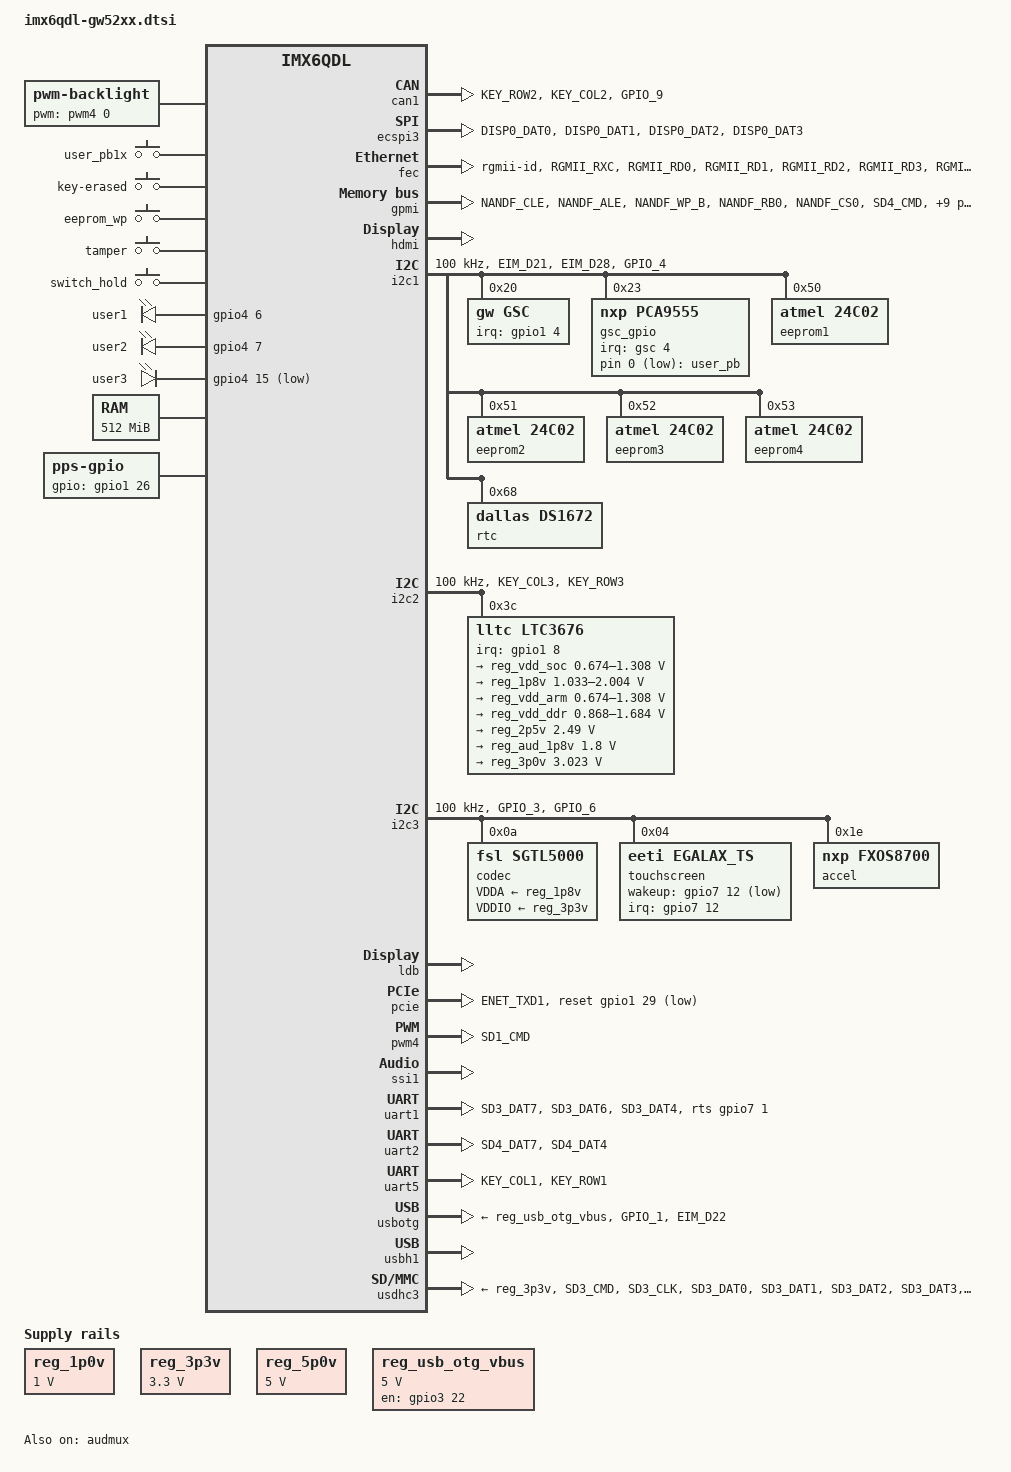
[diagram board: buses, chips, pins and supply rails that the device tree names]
// SPDX-License-Identifier: GPL-2.0-or-later
/*
 * Copyright 2013 Gateworks Corporation
 */

#include <dt-bindings/gpio/gpio.h>
#include <dt-bindings/input/linux-event-codes.h>
#include <dt-bindings/interrupt-controller/irq.h>

/ {
	/* these are used by bootloader for disabling nodes */
	aliases {
		led0 = &led0;
		led1 = &led1;
		led2 = &led2;
		nand = &gpmi;
		ssi0 = &ssi1;
		usb0 = &usbh1;
		usb1 = &usbotg;
	};

	chosen {
		bootargs = "console=ttymxc1,115200";
	};

	backlight {
		compatible = "pwm-backlight";
		pwms = <&pwm4 0 5000000>;
		brightness-levels = <0 4 8 16 32 64 128 255>;
		default-brightness-level = <7>;
	};

	gpio-keys {
		compatible = "gpio-keys";
		#address-cells = <1>;
		#size-cells = <0>;

		user-pb {
			label = "user_pb";
			gpios = <&gsc_gpio 0 GPIO_ACTIVE_LOW>;
			linux,code = <BTN_0>;
		};

		user-pb1x {
			label = "user_pb1x";
			linux,code = <BTN_1>;
			interrupt-parent = <&gsc>;
			interrupts = <0>;
		};

		key-erased {
			label = "key-erased";
			linux,code = <BTN_2>;
			interrupt-parent = <&gsc>;
			interrupts = <1>;
		};

		eeprom-wp {
			label = "eeprom_wp";
			linux,code = <BTN_3>;
			interrupt-parent = <&gsc>;
			interrupts = <2>;
		};

		tamper {
			label = "tamper";
			linux,code = <BTN_4>;
			interrupt-parent = <&gsc>;
			interrupts = <5>;
		};

		switch-hold {
			label = "switch_hold";
			linux,code = <BTN_5>;
			interrupt-parent = <&gsc>;
			interrupts = <7>;
		};
	};

	leds {
		compatible = "gpio-leds";
		pinctrl-names = "default";
		pinctrl-0 = <&pinctrl_gpio_leds>;

		led0: user1 {
			label = "user1";
			gpios = <&gpio4 6 GPIO_ACTIVE_HIGH>; /* MX6_PANLEDG */
			default-state = "on";
			linux,default-trigger = "heartbeat";
		};

		led1: user2 {
			label = "user2";
			gpios = <&gpio4 7 GPIO_ACTIVE_HIGH>; /* MX6_PANLEDR */
			default-state = "off";
		};

		led2: user3 {
			label = "user3";
			gpios = <&gpio4 15 GPIO_ACTIVE_LOW>; /* MX6_LOCLED# */
			default-state = "off";
		};
	};

	memory@10000000 {
		device_type = "memory";
		reg = <0x10000000 0x20000000>;
	};

	pps {
		compatible = "pps-gpio";
		pinctrl-names = "default";
		pinctrl-0 = <&pinctrl_pps>;
		gpios = <&gpio1 26 GPIO_ACTIVE_HIGH>;
		status = "okay";
	};

	reg_1p0v: regulator-1p0v {
		compatible = "regulator-fixed";
		regulator-name = "1P0V";
		regulator-min-microvolt = <1000000>;
		regulator-max-microvolt = <1000000>;
		regulator-always-on;
	};

	reg_3p3v: regulator-3p3v {
		compatible = "regulator-fixed";
		regulator-name = "3P3V";
		regulator-min-microvolt = <3300000>;
		regulator-max-microvolt = <3300000>;
		regulator-always-on;
	};

	reg_5p0v: regulator-5p0v {
		compatible = "regulator-fixed";
		regulator-name = "5P0V";
		regulator-min-microvolt = <5000000>;
		regulator-max-microvolt = <5000000>;
		regulator-always-on;
	};

	reg_usb_otg_vbus: regulator-usb-otg-vbus {
		compatible = "regulator-fixed";
		regulator-name = "usb_otg_vbus";
		regulator-min-microvolt = <5000000>;
		regulator-max-microvolt = <5000000>;
		gpio = <&gpio3 22 GPIO_ACTIVE_HIGH>;
		enable-active-high;
	};

	sound {
		compatible = "fsl,imx6q-ventana-sgtl5000",
			     "fsl,imx-audio-sgtl5000";
		model = "sgtl5000-audio";
		ssi-controller = <&ssi1>;
		audio-codec = <&codec>;
		audio-routing =
			"MIC_IN", "Mic Jack",
			"Mic Jack", "Mic Bias",
			"Headphone Jack", "HP_OUT";
		mux-int-port = <1>;
		mux-ext-port = <4>;
	};
};

&audmux {
	pinctrl-names = "default";
	pinctrl-0 = <&pinctrl_audmux>;
	status = "okay";
};

&can1 {
	pinctrl-names = "default";
	pinctrl-0 = <&pinctrl_flexcan1>;
	status = "okay";
};

&clks {
	assigned-clocks = <&clks IMX6QDL_CLK_LDB_DI0_SEL>,
			  <&clks IMX6QDL_CLK_LDB_DI1_SEL>;
	assigned-clock-parents = <&clks IMX6QDL_CLK_PLL3_USB_OTG>,
				 <&clks IMX6QDL_CLK_PLL3_USB_OTG>;
};

&ecspi3 {
	cs-gpios = <&gpio4 24 GPIO_ACTIVE_LOW>;
	pinctrl-names = "default";
	pinctrl-0 = <&pinctrl_ecspi3>;
	status = "okay";
};

&fec {
	pinctrl-names = "default";
	pinctrl-0 = <&pinctrl_enet>;
	phy-mode = "rgmii-id";
	phy-reset-gpios = <&gpio1 30 GPIO_ACTIVE_LOW>;
	status = "okay";
};

&gpmi {
	pinctrl-names = "default";
	pinctrl-0 = <&pinctrl_gpmi_nand>;
	status = "okay";
};

&hdmi {
	ddc-i2c-bus = <&i2c3>;
	status = "okay";
};

&i2c1 {
	clock-frequency = <100000>;
	pinctrl-names = "default";
	pinctrl-0 = <&pinctrl_i2c1>;
	status = "okay";

	gsc: gsc@20 {
		compatible = "gw,gsc";
		reg = <0x20>;
		interrupt-parent = <&gpio1>;
		interrupts = <4 IRQ_TYPE_LEVEL_LOW>;
		interrupt-controller;
		#interrupt-cells = <1>;
		#size-cells = <0>;

		adc {
			compatible = "gw,gsc-adc";
			#address-cells = <1>;
			#size-cells = <0>;

			channel@0 {
				gw,mode = <0>;
				reg = <0x00>;
				label = "temp";
			};

			channel@2 {
				gw,mode = <1>;
				reg = <0x02>;
				label = "vdd_vin";
			};

			channel@5 {
				gw,mode = <1>;
				reg = <0x05>;
				label = "vdd_3p3";
			};

			channel@8 {
				gw,mode = <1>;
				reg = <0x08>;
				label = "vdd_bat";
			};

			channel@b {
				gw,mode = <1>;
				reg = <0x0b>;
				label = "vdd_5p0";
			};

			channel@e {
				gw,mode = <1>;
				reg = <0xe>;
				label = "vdd_arm";
			};

			channel@11 {
				gw,mode = <1>;
				reg = <0x11>;
				label = "vdd_soc";
			};

			channel@14 {
				gw,mode = <1>;
				reg = <0x14>;
				label = "vdd_3p0";
			};

			channel@17 {
				gw,mode = <1>;
				reg = <0x17>;
				label = "vdd_1p5";
			};

			channel@1d {
				gw,mode = <1>;
				reg = <0x1d>;
				label = "vdd_1p8";
			};

			channel@20 {
				gw,mode = <1>;
				reg = <0x20>;
				label = "vdd_1p0";
			};

			channel@23 {
				gw,mode = <1>;
				reg = <0x23>;
				label = "vdd_2p5";
			};

			channel@29 {
				gw,mode = <1>;
				reg = <0x29>;
				label = "vdd_an1";
			};
		};
	};

	gsc_gpio: gpio@23 {
		compatible = "nxp,pca9555";
		reg = <0x23>;
		gpio-controller;
		#gpio-cells = <2>;
		interrupt-parent = <&gsc>;
		interrupts = <4>;
	};

	eeprom1: eeprom@50 {
		compatible = "atmel,24c02";
		reg = <0x50>;
		pagesize = <16>;
	};

	eeprom2: eeprom@51 {
		compatible = "atmel,24c02";
		reg = <0x51>;
		pagesize = <16>;
	};

	eeprom3: eeprom@52 {
		compatible = "atmel,24c02";
		reg = <0x52>;
		pagesize = <16>;
	};

	eeprom4: eeprom@53 {
		compatible = "atmel,24c02";
		reg = <0x53>;
		pagesize = <16>;
	};

	rtc: ds1672@68 {
		compatible = "dallas,ds1672";
		reg = <0x68>;
	};
};

&i2c2 {
	clock-frequency = <100000>;
	pinctrl-names = "default";
	pinctrl-0 = <&pinctrl_i2c2>;
	status = "okay";

	ltc3676: pmic@3c {
		compatible = "lltc,ltc3676";
		reg = <0x3c>;
		pinctrl-names = "default";
		pinctrl-0 = <&pinctrl_pmic>;
		interrupt-parent = <&gpio1>;
		interrupts = <8 IRQ_TYPE_EDGE_FALLING>;

		regulators {
			/* VDD_SOC (1+R1/R2 = 1.635) */
			reg_vdd_soc: sw1 {
				regulator-name = "vddsoc";
				regulator-min-microvolt = <674400>;
				regulator-max-microvolt = <1308000>;
				lltc,fb-voltage-divider = <127000 200000>;
				regulator-ramp-delay = <7000>;
				regulator-boot-on;
				regulator-always-on;
			};

			/* VDD_1P8 (1+R1/R2 = 2.505): GPS/VideoIn/ENET-PHY */
			reg_1p8v: sw2 {
				regulator-name = "vdd1p8";
				regulator-min-microvolt = <1033310>;
				regulator-max-microvolt = <2004000>;
				lltc,fb-voltage-divider = <301000 200000>;
				regulator-ramp-delay = <7000>;
				regulator-boot-on;
				regulator-always-on;
			};

			/* VDD_ARM (1+R1/R2 = 1.635) */
			reg_vdd_arm: sw3 {
				regulator-name = "vddarm";
				regulator-min-microvolt = <674400>;
				regulator-max-microvolt = <1308000>;
				lltc,fb-voltage-divider = <127000 200000>;
				regulator-ramp-delay = <7000>;
				regulator-boot-on;
				regulator-always-on;
			};

			/* VDD_DDR (1+R1/R2 = 2.105) */
			reg_vdd_ddr: sw4 {
				regulator-name = "vddddr";
				regulator-min-microvolt = <868310>;
				regulator-max-microvolt = <1684000>;
				lltc,fb-voltage-divider = <221000 200000>;
				regulator-ramp-delay = <7000>;
				regulator-boot-on;
				regulator-always-on;
			};

			/* VDD_2P5 (1+R1/R2 = 3.435): PCIe/ENET-PHY */
			reg_2p5v: ldo2 {
				regulator-name = "vdd2p5";
				regulator-min-microvolt = <2490375>;
				regulator-max-microvolt = <2490375>;
				lltc,fb-voltage-divider = <487000 200000>;
				regulator-boot-on;
				regulator-always-on;
			};

			/* VDD_AUD_1P8: Audio codec */
			reg_aud_1p8v: ldo3 {
				regulator-name = "vdd1p8a";
				regulator-min-microvolt = <1800000>;
				regulator-max-microvolt = <1800000>;
				regulator-boot-on;
			};

			/* VDD_HIGH (1+R1/R2 = 4.17) */
			reg_3p0v: ldo4 {
				regulator-name = "vdd3p0";
				regulator-min-microvolt = <3023250>;
				regulator-max-microvolt = <3023250>;
				lltc,fb-voltage-divider = <634000 200000>;
				regulator-boot-on;
				regulator-always-on;
			};
		};
	};
};

&i2c3 {
	clock-frequency = <100000>;
	pinctrl-names = "default";
	pinctrl-0 = <&pinctrl_i2c3>;
	status = "okay";

	codec: sgtl5000@a {
		compatible = "fsl,sgtl5000";
		reg = <0x0a>;
		clocks = <&clks IMX6QDL_CLK_CKO>;
		VDDA-supply = <&reg_1p8v>;
		VDDIO-supply = <&reg_3p3v>;
	};

	touchscreen: egalax_ts@4 {
		compatible = "eeti,egalax_ts";
		reg = <0x04>;
		interrupt-parent = <&gpio7>;
		interrupts = <12 2>;
		wakeup-gpios = <&gpio7 12 GPIO_ACTIVE_LOW>;
	};

	accel@1e {
		compatible = "nxp,fxos8700";
		reg = <0x1e>;
	};
};

&ldb {
	status = "okay";

	lvds-channel@0 {
		fsl,data-mapping = "spwg";
		fsl,data-width = <18>;
		status = "okay";

		display-timings {
			native-mode = <&timing0>;
			timing0: hsd100pxn1 {
				clock-frequency = <65000000>;
				hactive = <1024>;
				vactive = <768>;
				hback-porch = <220>;
				hfront-porch = <40>;
				vback-porch = <21>;
				vfront-porch = <7>;
				hsync-len = <60>;
				vsync-len = <10>;
			};
		};
	};
};

&pcie {
	pinctrl-names = "default";
	pinctrl-0 = <&pinctrl_pcie>;
	reset-gpio = <&gpio1 29 GPIO_ACTIVE_LOW>;
	status = "okay";
};

&pwm2 {
	pinctrl-names = "default";
	pinctrl-0 = <&pinctrl_pwm2>; /* MX6_DIO1 */
	status = "disabled";
};

&pwm3 {
	pinctrl-names = "default";
	pinctrl-0 = <&pinctrl_pwm3>; /* MX6_DIO2 */
	status = "disabled";
};

&pwm4 {
	#pwm-cells = <2>;
	pinctrl-names = "default";
	pinctrl-0 = <&pinctrl_pwm4>;
	status = "okay";
};

&ssi1 {
	status = "okay";
};

&uart1 {
	pinctrl-names = "default";
	pinctrl-0 = <&pinctrl_uart1>;
	rts-gpios = <&gpio7 1 GPIO_ACTIVE_HIGH>;
	status = "okay";
};

&uart2 {
	pinctrl-names = "default";
	pinctrl-0 = <&pinctrl_uart2>;
	status = "okay";
};

&uart5 {
	pinctrl-names = "default";
	pinctrl-0 = <&pinctrl_uart5>;
	status = "okay";
};

&usbotg {
	vbus-supply = <&reg_usb_otg_vbus>;
	pinctrl-names = "default";
	pinctrl-0 = <&pinctrl_usbotg>;
	disable-over-current;
	status = "okay";
};

&usbh1 {
	status = "okay";
};

&usdhc3 {
	pinctrl-names = "default", "state_100mhz", "state_200mhz";
	pinctrl-0 = <&pinctrl_usdhc3>;
	pinctrl-1 = <&pinctrl_usdhc3_100mhz>;
	pinctrl-2 = <&pinctrl_usdhc3_200mhz>;
	cd-gpios = <&gpio7 0 GPIO_ACTIVE_LOW>;
	vmmc-supply = <&reg_3p3v>;
	no-1-8-v; /* firmware will remove if board revision supports */
	status = "okay";
};

&wdog1 {
	pinctrl-names = "default";
	pinctrl-0 = <&pinctrl_wdog>;
	fsl,ext-reset-output;
};

&iomuxc {
	pinctrl_audmux: audmuxgrp {
		fsl,pins = <
			MX6QDL_PAD_SD2_DAT0__AUD4_RXD		0x130b0
			MX6QDL_PAD_SD2_DAT3__AUD4_TXC		0x130b0
			MX6QDL_PAD_SD2_DAT2__AUD4_TXD		0x110b0
			MX6QDL_PAD_SD2_DAT1__AUD4_TXFS		0x130b0
			MX6QDL_PAD_GPIO_0__CCM_CLKO1	0x130b0 /* AUD4_MCK */
		>;
	};

	pinctrl_ecspi3: escpi3grp {
		fsl,pins = <
			MX6QDL_PAD_DISP0_DAT0__ECSPI3_SCLK	0x100b1
			MX6QDL_PAD_DISP0_DAT1__ECSPI3_MOSI	0x100b1
			MX6QDL_PAD_DISP0_DAT2__ECSPI3_MISO	0x100b1
			MX6QDL_PAD_DISP0_DAT3__GPIO4_IO24	0x100b1
		>;
	};

	pinctrl_enet: enetgrp {
		fsl,pins = <
			MX6QDL_PAD_RGMII_RXC__RGMII_RXC		0x1b030
			MX6QDL_PAD_RGMII_RD0__RGMII_RD0		0x1b030
			MX6QDL_PAD_RGMII_RD1__RGMII_RD1		0x1b030
			MX6QDL_PAD_RGMII_RD2__RGMII_RD2		0x1b030
			MX6QDL_PAD_RGMII_RD3__RGMII_RD3		0x1b030
			MX6QDL_PAD_RGMII_RX_CTL__RGMII_RX_CTL	0x1b030
			MX6QDL_PAD_RGMII_TXC__RGMII_TXC		0x1b030
			MX6QDL_PAD_RGMII_TD0__RGMII_TD0		0x1b030
			MX6QDL_PAD_RGMII_TD1__RGMII_TD1		0x1b030
			MX6QDL_PAD_RGMII_TD2__RGMII_TD2		0x1b030
			MX6QDL_PAD_RGMII_TD3__RGMII_TD3		0x1b030
			MX6QDL_PAD_RGMII_TX_CTL__RGMII_TX_CTL	0x1b030
			MX6QDL_PAD_ENET_REF_CLK__ENET_TX_CLK	0x1b0b0
			MX6QDL_PAD_ENET_MDIO__ENET_MDIO		0x1b0b0
			MX6QDL_PAD_ENET_MDC__ENET_MDC		0x1b0b0
			MX6QDL_PAD_GPIO_16__ENET_REF_CLK	0x4001b0a8
			MX6QDL_PAD_ENET_TXD0__GPIO1_IO30	0x1b0b0 /* PHY Reset */
		>;
	};

	pinctrl_flexcan1: flexcan1grp {
		fsl,pins = <
			MX6QDL_PAD_KEY_ROW2__FLEXCAN1_RX	0x1b0b1
			MX6QDL_PAD_KEY_COL2__FLEXCAN1_TX	0x1b0b1
			MX6QDL_PAD_GPIO_9__GPIO1_IO09		0x4001b0b0 /* CAN_STBY */
		>;
	};

	pinctrl_gpio_leds: gpioledsgrp {
		fsl,pins = <
			MX6QDL_PAD_KEY_COL0__GPIO4_IO06  0x1b0b0
			MX6QDL_PAD_KEY_ROW0__GPIO4_IO07  0x1b0b0
			MX6QDL_PAD_KEY_ROW4__GPIO4_IO15  0x1b0b0
		>;
	};

	pinctrl_gpmi_nand: gpminandgrp {
		fsl,pins = <
			MX6QDL_PAD_NANDF_CLE__NAND_CLE		0xb0b1
			MX6QDL_PAD_NANDF_ALE__NAND_ALE		0xb0b1
			MX6QDL_PAD_NANDF_WP_B__NAND_WP_B	0xb0b1
			MX6QDL_PAD_NANDF_RB0__NAND_READY_B	0xb000
			MX6QDL_PAD_NANDF_CS0__NAND_CE0_B	0xb0b1
			MX6QDL_PAD_SD4_CMD__NAND_RE_B		0xb0b1
			MX6QDL_PAD_SD4_CLK__NAND_WE_B		0xb0b1
			MX6QDL_PAD_NANDF_D0__NAND_DATA00	0xb0b1
			MX6QDL_PAD_NANDF_D1__NAND_DATA01	0xb0b1
			MX6QDL_PAD_NANDF_D2__NAND_DATA02	0xb0b1
			MX6QDL_PAD_NANDF_D3__NAND_DATA03	0xb0b1
			MX6QDL_PAD_NANDF_D4__NAND_DATA04	0xb0b1
			MX6QDL_PAD_NANDF_D5__NAND_DATA05	0xb0b1
			MX6QDL_PAD_NANDF_D6__NAND_DATA06	0xb0b1
			MX6QDL_PAD_NANDF_D7__NAND_DATA07	0xb0b1
		>;
	};

	pinctrl_i2c1: i2c1grp {
		fsl,pins = <
			MX6QDL_PAD_EIM_D21__I2C1_SCL		0x4001b8b1
			MX6QDL_PAD_EIM_D28__I2C1_SDA		0x4001b8b1
			MX6QDL_PAD_GPIO_4__GPIO1_IO04		0xb0b1
		>;
	};

	pinctrl_i2c2: i2c2grp {
		fsl,pins = <
			MX6QDL_PAD_KEY_COL3__I2C2_SCL		0x4001b8b1
			MX6QDL_PAD_KEY_ROW3__I2C2_SDA		0x4001b8b1
		>;
	};

	pinctrl_i2c3: i2c3grp {
		fsl,pins = <
			MX6QDL_PAD_GPIO_3__I2C3_SCL		0x4001b8b1
			MX6QDL_PAD_GPIO_6__I2C3_SDA		0x4001b8b1
		>;
	};

	pinctrl_pcie: pciegrp {
		fsl,pins = <
			MX6QDL_PAD_ENET_TXD1__GPIO1_IO29	0x1b0b0 /* PCIE_RST# */
		>;
	};

	pinctrl_pmic: pmicgrp {
		fsl,pins = <
			MX6QDL_PAD_GPIO_8__GPIO1_IO08		0x0001b0b0 /* PMIC_IRQ# */
		>;
	};

	pinctrl_pps: ppsgrp {
		fsl,pins = <
			MX6QDL_PAD_ENET_RXD1__GPIO1_IO26	0x1b0b1
		>;
	};

	pinctrl_pwm2: pwm2grp {
		fsl,pins = <
			MX6QDL_PAD_SD1_DAT2__PWM2_OUT		0x1b0b1
		>;
	};

	pinctrl_pwm3: pwm3grp {
		fsl,pins = <
			MX6QDL_PAD_SD1_DAT1__PWM3_OUT		0x1b0b1
		>;
	};

	pinctrl_pwm4: pwm4grp {
		fsl,pins = <
			MX6QDL_PAD_SD1_CMD__PWM4_OUT		0x1b0b1
		>;
	};

	pinctrl_uart1: uart1grp {
		fsl,pins = <
			MX6QDL_PAD_SD3_DAT7__UART1_TX_DATA	0x1b0b1
			MX6QDL_PAD_SD3_DAT6__UART1_RX_DATA	0x1b0b1
			MX6QDL_PAD_SD3_DAT4__GPIO7_IO01		0x4001b0b1 /* TEN */
		>;
	};

	pinctrl_uart2: uart2grp {
		fsl,pins = <
			MX6QDL_PAD_SD4_DAT7__UART2_TX_DATA	0x1b0b1
			MX6QDL_PAD_SD4_DAT4__UART2_RX_DATA	0x1b0b1
		>;
	};

	pinctrl_uart5: uart5grp {
		fsl,pins = <
			MX6QDL_PAD_KEY_COL1__UART5_TX_DATA	0x1b0b1
			MX6QDL_PAD_KEY_ROW1__UART5_RX_DATA	0x1b0b1
		>;
	};

	pinctrl_usbotg: usbotggrp {
		fsl,pins = <
			MX6QDL_PAD_GPIO_1__USB_OTG_ID		0x17059
			MX6QDL_PAD_EIM_D22__GPIO3_IO22	0x1b0b0 /* OTG_PWR_EN */
		>;
	};

	pinctrl_usdhc3: usdhc3grp {
		fsl,pins = <
			MX6QDL_PAD_SD3_CMD__SD3_CMD		0x17059
			MX6QDL_PAD_SD3_CLK__SD3_CLK		0x10059
			MX6QDL_PAD_SD3_DAT0__SD3_DATA0		0x17059
			MX6QDL_PAD_SD3_DAT1__SD3_DATA1		0x17059
			MX6QDL_PAD_SD3_DAT2__SD3_DATA2		0x17059
			MX6QDL_PAD_SD3_DAT3__SD3_DATA3		0x17059
			MX6QDL_PAD_SD3_DAT5__GPIO7_IO00		0x17059 /* CD */
			MX6QDL_PAD_NANDF_CS1__SD3_VSELECT	0x17059
		>;
	};

	pinctrl_usdhc3_100mhz: usdhc3grp100mhz {
		fsl,pins = <
			MX6QDL_PAD_SD3_CMD__SD3_CMD		0x170b9
			MX6QDL_PAD_SD3_CLK__SD3_CLK		0x170b9
			MX6QDL_PAD_SD3_DAT0__SD3_DATA0		0x170b9
			MX6QDL_PAD_SD3_DAT1__SD3_DATA1		0x170b9
			MX6QDL_PAD_SD3_DAT2__SD3_DATA2		0x170b9
			MX6QDL_PAD_SD3_DAT3__SD3_DATA3		0x170b9
			MX6QDL_PAD_SD3_DAT5__GPIO7_IO00		0x170b9 /* CD */
			MX6QDL_PAD_NANDF_CS1__SD3_VSELECT	0x170b9
		>;
	};

	pinctrl_usdhc3_200mhz: usdhc3grp200mhz {
		fsl,pins = <
			MX6QDL_PAD_SD3_CMD__SD3_CMD		0x170f9
			MX6QDL_PAD_SD3_CLK__SD3_CLK		0x100f9
			MX6QDL_PAD_SD3_DAT0__SD3_DATA0		0x170f9
			MX6QDL_PAD_SD3_DAT1__SD3_DATA1		0x170f9
			MX6QDL_PAD_SD3_DAT2__SD3_DATA2		0x170f9
			MX6QDL_PAD_SD3_DAT3__SD3_DATA3		0x170f9
			MX6QDL_PAD_SD3_DAT5__GPIO7_IO00		0x170f9 /* CD */
			MX6QDL_PAD_NANDF_CS1__SD3_VSELECT	0x170f9
		>;
	};

	pinctrl_wdog: wdoggrp {
		fsl,pins = <
			MX6QDL_PAD_DISP0_DAT8__WDOG1_B		0x1b0b0
		>;
	};
};
